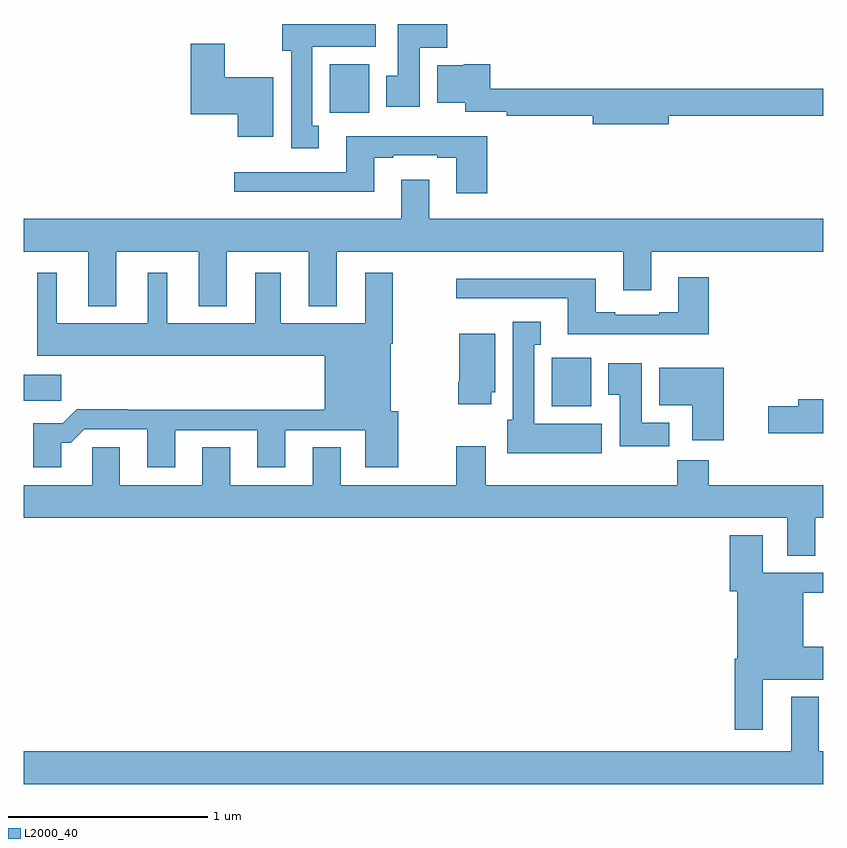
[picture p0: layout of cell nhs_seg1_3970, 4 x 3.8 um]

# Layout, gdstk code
import gdstk
lib = gdstk.Library(unit=1e-6, precision=1e-09)
def R(c, l, rs):  # rectangles x0, y0, x1, y1
    for r in rs: c.add(gdstk.rectangle(r[:2], r[2:], *l))
def P(c, l, *ps):  # polygons
    for p in ps: c.add(gdstk.Polygon(p, *l))
L2000_40 = (2000, 40)

nhs_seg1_3970 = lib.new_cell('nhs_seg1_3970')
R(nhs_seg1_3970, L2000_40, [(329.642,556.286,329.839,556.528), (327,556.315,327.187,556.444), (328.532,557.756,328.729,557.998), (328.049,558.198,328.201,558.199)])
P(nhs_seg1_3970, L2000_40, [(328.981,558.08),(329.12,558.08),(329.12,558.199),(328.871,558.199),(328.871,557.94),(328.814,557.94),(328.814,557.784),(328.981,557.784)],
  [(328.477,557.69),(328.444,557.69),(328.444,558.086),(328.762,558.086),(328.762,558.199),(328.292,558.199),(328.292,558.066),(328.337,558.066),(328.337,557.577),(328.477,557.577)],
  [(328.249,557.932),(328.006,557.932),(328.006,558.1),(327.836,558.1),(327.836,557.747),(328.07,557.747),(328.07,557.636),(328.249,557.636)],
  [(330.226,557.74),(331,557.74),(331,557.876),(329.333,557.876),(329.333,557.998),(329.202,557.998),(329.202,557.992),(329.069,557.992),(329.069,557.804),(329.21,557.804),(329.21,557.76),(329.416,557.76),(329.416,557.74),(329.846,557.74),(329.846,557.698),(330.226,557.698)],
  [(329.318,557.638),(328.613,557.638),(328.613,557.457),(328.053,557.457),(328.053,557.36),(328.753,557.36),(328.753,557.529),(328.849,557.529),(328.849,557.541),(329.069,557.541),(329.069,557.529),(329.165,557.529),(329.165,557.352),(329.318,557.352)],
  [(327.463,557.06),(327.875,557.06),(327.875,556.787),(328.015,556.787),(328.015,557.06),(328.427,557.06),(328.427,556.787),(328.567,556.787),(328.567,557.06),(329.999,557.06),(329.999,556.866),(330.139,556.866),(330.139,557.06),(331,557.06),(331,557.224),(329.029,557.224),(329.029,557.419),(328.889,557.419),(328.889,557.224),(327,557.224),(327,557.06),(327.323,557.06),(327.323,556.787),(327.463,556.787)],
  [(327.187,556.103),(327.236,556.103),(327.303,556.17),(327.617,556.17),(327.617,555.981),(327.757,555.981),(327.757,556.167),(328.169,556.167),(328.169,555.981),(328.309,555.981),(328.309,556.167),(328.709,556.167),(328.709,555.981),(328.874,555.981),(328.874,556.26),(328.837,556.26),(328.837,556.598),(328.845,556.598),(328.845,556.954),(328.709,556.954),(328.709,556.702),(328.285,556.702),(328.285,556.954),(328.157,556.954),(328.157,556.702),(327.718,556.702),(327.718,556.954),(327.62,556.954),(327.62,556.702),(327.166,556.702),(327.166,556.954),(327.068,556.954),(327.068,556.538),(328.505,556.538),(328.505,556.268),(327.521,556.268),(327.521,556.271),(327.266,556.271),(327.196,556.201),(327.047,556.201),(327.047,555.981),(327.187,555.981)],
  [(330.428,556.933),(330.275,556.933),(330.275,556.756),(330.179,556.756),(330.179,556.743),(329.959,556.743),(329.959,556.756),(329.863,556.756),(329.863,556.924),(329.163,556.924),(329.163,556.827),(329.723,556.827),(329.723,556.646),(330.428,556.646)],
  [(329.893,556.198),(329.554,556.198),(329.554,556.595),(329.587,556.595),(329.587,556.708),(329.447,556.708),(329.447,556.218),(329.42,556.218),(329.42,556.052),(329.893,556.052)],
  [(329.338,556.356),(329.359,556.356),(329.359,556.648),(329.18,556.648),(329.18,556.408),(329.173,556.408),(329.173,556.296),(329.338,556.296)],
  [(330.23,556.204),(330.091,556.204),(330.091,556.501),(329.924,556.501),(329.924,556.345),(329.981,556.345),(329.981,556.086),(330.23,556.086)],
  [(330.502,556.48),(330.179,556.48),(330.179,556.292),(330.344,556.292),(330.344,556.116),(330.502,556.116)],
  [(331,556.322),(330.875,556.322),(330.875,556.286),(330.726,556.286),(330.726,556.151),(331,556.151)],
  [(330.961,555.728),(331,555.728),(331,555.892),(330.428,555.892),(330.428,556.016),(330.271,556.016),(330.271,555.892),(329.311,555.892),(329.311,556.087),(329.164,556.087),(329.164,555.892),(328.585,555.892),(328.585,556.082),(328.445,556.082),(328.445,555.892),(328.033,555.892),(328.033,556.082),(327.893,556.082),(327.893,555.892),(327.481,555.892),(327.481,556.082),(327.342,556.082),(327.342,555.892),(327,555.892),(327,555.728),(330.821,555.728),(330.821,555.538),(330.961,555.538)],
  [(330.697,554.918),(331,554.918),(331,555.082),(330.901,555.082),(330.901,555.352),(331,555.352),(331,555.453),(330.697,555.453),(330.697,555.64),(330.533,555.64),(330.533,555.36),(330.569,555.36),(330.569,555.022),(330.557,555.022),(330.557,554.667),(330.697,554.667)],
  [(331,554.56),(330.979,554.56),(330.979,554.833),(330.839,554.833),(330.839,554.56),(327,554.56),(327,554.396),(331,554.396)])

lib.write_gds('nhs_seg1_3970.gds')
